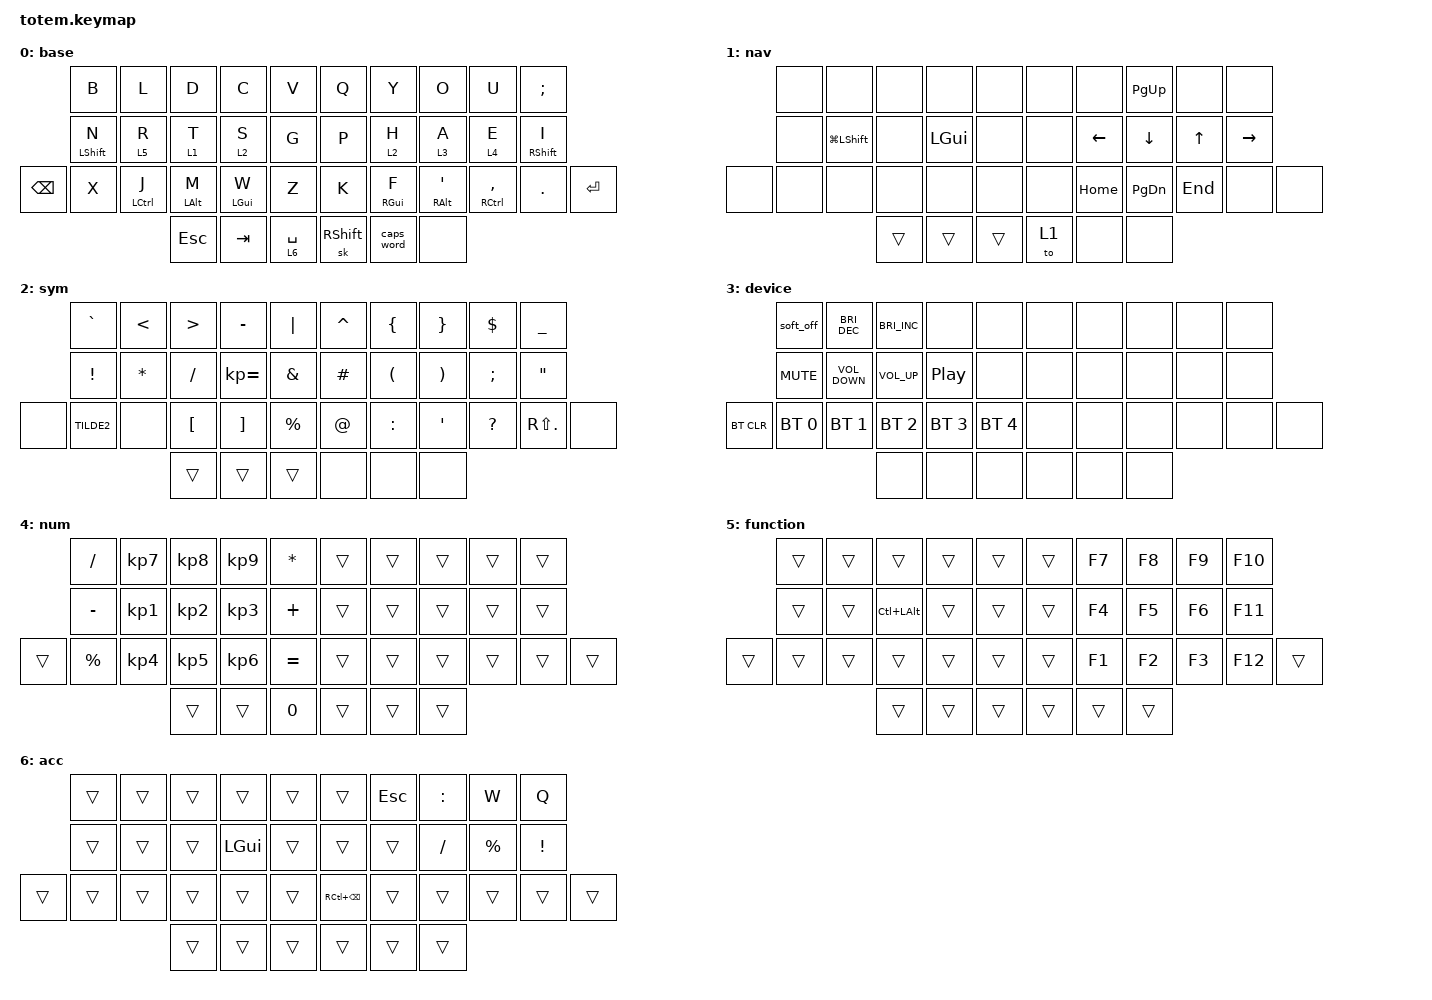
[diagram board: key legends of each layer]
//
//                                                        ▀▀▀▀▀     ▀▀▀▀▀          ▀▀█▀▀
//                                                        ▄▀▀▀▄  ▄  ▄▀▀▀▄  ▄  ▄▀▀▀▄  █  ▄▀▀▀▄
//                                                        █   █  █  █   █  █  █   █  █  █   █
//                                                         ▀▀▀   █   ▀▀▀   █   ▀▀▀   ▀   ▀▀▀
//                                                               █      ▄▄▄█▄▄▄    █   █  
//                                                               ▀      █  █  █     █▄█
//                                                             ▀▀▀▀▀    █  █  █      ▀
//                                                                      ▀  ▀  ▀
//
// ▄▄▄▄▄▄▄▄▄▄▄▄▄▄▄▄▄▄▄▄▄▄▄▄▄▄▄▄▄▄▄▄▄▄▄▄▄▄▄▄▄▄▄▄▄▄▄▄▄▄▄▄▄▄▄▄▄▄▄▄▄▄▄▄▄▄▄▄▄▄▄▄▄▄▄▄▄▄▄▄▄▄▄▄▄▄▄▄▄▄▄▄▄▄▄▄▄▄▄▄▄▄▄▄▄▄▄▄▄▄▄▄▄▄▄▄▄▄▄▄▄▄▄▄▄▄▄▄▄▄▄▄▄▄▄▄▄▄▄▄▄▄▄▄▄▄▄▄▄

#include <behaviors.dtsi>
#include <dt-bindings/zmk/bt.h>
#include <dt-bindings/zmk/keys.h>

/ {
    behaviors {
        hml: hml {
            compatible = "zmk,behavior-hold-tap";
            label = "HML";
            bindings = <&kp>, <&kp>;

            #binding-cells = <2>;
            tapping-term-ms = <280>;
            quick-tap-ms = <175>;
            require-prior-idle-ms = <150>;
            flavor = "balanced";
            hold-trigger-key-positions = <5 6 7 8 18 29 9 19 30 31 17 28 6 16 27 5 15 26 35 36 37>;
            hold-trigger-on-release;
        };

        hmr: hmr {
            compatible = "zmk,behavior-hold-tap";
            label = "HMR";
            bindings = <&kp>, <&kp>;

            #binding-cells = <2>;
            tapping-term-ms = <280>;
            quick-tap-ms = <175>;
            require-prior-idle-ms = <150>;
            flavor = "balanced";
            hold-trigger-on-release;
            hold-trigger-key-positions = <0 1 2 3 4 10 11 12 13 14 20 21 22 23 24 25 32 33 34>;
        };
    };

    keymap {
        compatible = "zmk,keymap";

        base {
            bindings = <
               &kp B             &kp L               &kp D           &kp C           &kp V          &kp Q       &kp Y            &kp O                       &kp U                    &kp SEMICOLON
               &mt LEFT_SHIFT N  &lt 5 R             &lt 1 T         &lt 2 S         &kp G          &kp P       &lt 2 H          &lt 3 A                     &lt 4 E                  &mt RIGHT_SHIFT I
&kp BACKSPACE  &kp X             &mt LEFT_CONTROL J  &mt LEFT_ALT M  &mt LEFT_GUI W  &kp Z          &kp K       &mt RIGHT_GUI F  &mt RIGHT_ALT SINGLE_QUOTE  &mt RIGHT_CONTROL COMMA  &kp PERIOD         &kp ENTER
                                                     &kp ESC         &kp TAB         &lt 6 SPACE    &sk RSHIFT  &caps_word       &none
            >;
        };

        nav {
            bindings = <
       &none  &none               &none   &none         &none     &none  &none     &kp PAGE_UP    &none         &none
       &none  &kp LG(LEFT_SHIFT)  &none   &kp LEFT_GUI  &none     &none  &kp LEFT  &kp DOWN       &kp UP_ARROW  &kp RIGHT
&none  &none  &none               &none   &none         &none     &none  &kp HOME  &kp PAGE_DOWN  &kp END       &none      &none
                                  &trans  &trans        &trans    &to 1  &none     &none
            >;
        };

        sym {
            bindings = <
       &kp GRAVE   &kp LESS_THAN  &kp GREATER_THAN  &kp MINUS          &kp PIPE       &kp CARET  &kp LEFT_BRACE        &kp RIGHT_BRACE        &kp DOLLAR    &kp UNDER
       &kp EXCL    &kp ASTRK      &kp SLASH         &kp KP_EQUAL       &kp AMPS       &kp POUND  &kp LEFT_PARENTHESIS  &kp RIGHT_PARENTHESIS  &kp SEMI      &kp DOUBLE_QUOTES
&none  &kp TILDE2  &none          &kp LEFT_BRACKET  &kp RIGHT_BRACKET  &kp PERCENT    &kp AT     &kp COLON             &kp SINGLE_QUOTE       &kp QUESTION  &kp RS(PERIOD)     &none
                                  &trans            &trans             &trans         &none      &none                 &none
            >;
        };

        device {
            bindings = <
            &soft_off     &kp C_BRIGHTNESS_DEC  &kp C_BRIGHTNESS_INC  &none             &none           &none  &none  &none  &none  &none
            &kp K_MUTE    &kp C_VOLUME_DOWN     &kp C_VOLUME_UP       &kp C_PLAY_PAUSE  &none           &none  &none  &none  &none  &none
&bt BT_CLR  &bt BT_SEL 0  &bt BT_SEL 1          &bt BT_SEL 2          &bt BT_SEL 3      &bt BT_SEL 4    &none  &none  &none  &none  &none  &none
                                                &none                 &none             &none           &none  &none  &none
            >;
        };

        num {
            bindings = <
        &kp SLASH    &kp KP_NUMBER_7  &kp KP_NUMBER_8  &kp KP_NUMBER_9  &kp ASTRK    &trans  &trans  &trans  &trans  &trans
        &kp MINUS    &kp KP_NUMBER_1  &kp KP_NUMBER_2  &kp KP_NUMBER_3  &kp PLUS     &trans  &trans  &trans  &trans  &trans
&trans  &kp PERCENT  &kp KP_NUMBER_4  &kp KP_NUMBER_5  &kp KP_NUMBER_6  &kp EQUAL    &trans  &trans  &trans  &trans  &trans  &trans
                                      &trans           &trans           &kp N0       &trans  &trans  &trans
            >;
        };

        function {
            bindings = <
        &trans  &trans  &trans            &trans  &trans    &trans  &kp F7  &kp F8  &kp F9  &kp F10
        &trans  &trans  &kp LC(LEFT_ALT)  &trans  &trans    &trans  &kp F4  &kp F5  &kp F6  &kp F11
&trans  &trans  &trans  &trans            &trans  &trans    &trans  &kp F1  &kp F2  &kp F3  &kp F12  &trans
                        &trans            &trans  &trans    &trans  &trans  &trans
            >;
        };

        acc {
            bindings = <
        &trans  &trans  &trans  &trans        &trans    &trans             &kp ESC  &kp COLON  &kp W        &kp Q
        &trans  &trans  &trans  &kp LEFT_GUI  &trans    &trans             &trans   &kp SLASH  &kp PERCENT  &kp EXCL
&trans  &trans  &trans  &trans  &trans        &trans    &kp RC(BACKSPACE)  &trans   &trans     &trans       &trans    &trans
                        &trans  &trans        &trans    &trans             &trans   &trans
            >;
        };
    };

    conditional_layers { compatible = "zmk,conditional-layers"; };
};
